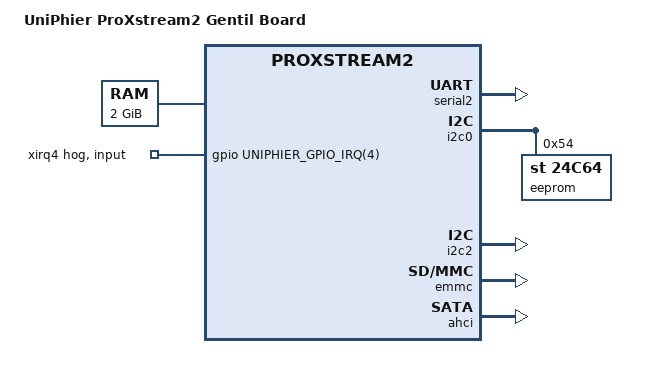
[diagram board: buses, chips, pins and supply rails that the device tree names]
// SPDX-License-Identifier: GPL-2.0+ OR MIT
//
// Device Tree Source for UniPhier ProXstream2 Gentil Board
//
// Copyright (C) 2015-2016 Socionext Inc.
//   Author: Masahiro Yamada <yamada.masahiro@socionext.com>

/dts-v1/;
#include "uniphier-proxstream2.dtsi"
#include "uniphier-support-card.dtsi"

/ {
	model = "UniPhier ProXstream2 Gentil Board";
	compatible = "socionext,proxstream2-gentil", "socionext,proxstream2";

	memory {
		device_type = "memory";
		reg = <0x80000000 0x80000000>;
	};

	chosen {
		stdout-path = "serial0:115200n8";
	};

	aliases {
		serial0 = &serial2;
		serial1 = &serial0;
		serial2 = &serial1;
		serial3 = &serialsc;
		i2c0 = &i2c0;
		i2c2 = &i2c2;
		i2c4 = &i2c4;
		i2c5 = &i2c5;
		i2c6 = &i2c6;
	};
};

&ethsc {
	interrupts = <4 8>;
};

&serialsc {
	interrupts = <4 8>;
};

&serial2 {
	status = "okay";
};

&gpio {
	xirq4 {
		gpio-hog;
		gpios = <UNIPHIER_GPIO_IRQ(4) 0>;
		input;
	};
};

&i2c0 {
	status = "okay";

	eeprom@54 {
		compatible = "st,24c64";
		reg = <0x54>;
	};
};

&i2c2 {
	status = "okay";
};

&emmc {
	status = "okay";
};

&ahci {
	status = "okay";
};
